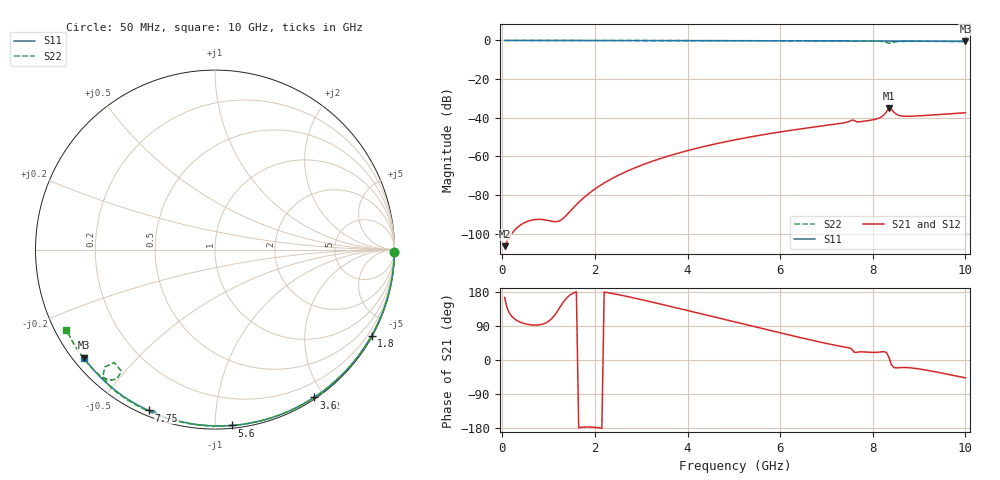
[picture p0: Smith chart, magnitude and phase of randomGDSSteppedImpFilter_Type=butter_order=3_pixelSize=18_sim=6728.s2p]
! freq	dB(S11)	phase(S11)	dB(S12)	phase(S12)
!  dB(S21)	phase(S21)	dB(S22)	phase(S22)
!S-par simulation data
#  GHz  S  DB  R 50
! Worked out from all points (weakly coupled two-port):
!   200 points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, 50 MHz to 10 GHz, reference 50 ohm
!   highest |S21| = -35.07 dB at 8.35 GHz (marker M1); lowest = -106.4 dB at 50 MHz (marker M2)
!   lowest |S11| = -0.5 dB at 10 GHz (marker M3), VSWR 36.48, Z = 1.55 - j17.9 ohm
!   |S11| at or under -10 dB: nowhere
!   |S22| runs from -1.5 to 0.0 dB; largest |S21 - S12| = 0
!   S11 on the Smith chart (normalised r, x): 50 MHz: open; 1.8 GHz: 0.03, -3.90; 3.6 GHz: 0.02, -1.87; 5.6 GHz: 0.02, -1.10; 7.75 GHz: 0.02, -0.67; 10 GHz: 0.03, -0.36
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0.05  -0.00 -0.8  -106.38 165.2  -106.38 165.2  -0.00 -0.9
0.85  -0.01 -13.7  -92.58 94.1  -92.58 94.1  -0.02 -14.9
1.75  -0.04 -28.0  -81.50 -177.0  -81.50 -177.0  -0.04 -30.4
1.8  -0.04 -28.8  -80.48 -176.6  -80.48 -176.6  -0.04 -31.3
2.5  -0.05 -39.6  -69.79 172.6  -69.79 172.6  -0.06 -43.0
3.4  -0.07 -53.2  -61.18 148.1  -61.18 148.1  -0.08 -57.7
3.6  -0.08 -56.2  -59.68 142.3  -59.68 142.3  -0.08 -60.9
5.05  -0.12 -76.9  -51.27 99.4  -51.27 99.4  -0.13 -83.3
5.6  -0.14 -84.5  -48.86 83.2  -48.86 83.2  -0.15 -91.4
6.7  -0.19 -99.1  -44.88 51.7  -44.88 51.7  -0.21 -107.2
7.35  -0.24 -107.6  -42.72 35.2  -42.72 35.2  -0.25 -116.5
7.55  -0.32 -110.4  -41.19 28.3  -41.19 28.3  -0.27 -119.3
7.75  -0.27 -112.3  -41.98 21.5  -41.98 21.5  -0.29 -122.3
8.15  -0.29 -117.5  -40.00 21.0  -40.00 21.0  -0.41 -129.3
8.25  -0.30 -118.7  -38.29 22.1  -38.29 22.1  -0.62 -131.9
8.3  -0.31 -119.4  -36.68 19.0  -36.68 19.0  -0.95 -133.2
8.35  -0.31 -120.0  -35.07 6.5  -35.07 6.5  -1.48 -131.7
8.4  -0.31 -120.6  -35.41 -11.3  -35.41 -11.3  -1.36 -127.5
8.45  -0.31 -121.3  -36.91 -19.5  -36.91 -19.5  -0.89 -127.2
8.55  -0.32 -122.5  -38.65 -20.5  -38.65 -20.5  -0.55 -129.6
8.7  -0.34 -124.4  -39.22 -19.8  -39.22 -19.8  -0.44 -132.7
10  -0.48 -140.5  -37.40 -47.1  -37.40 -47.1  -0.53 -151.6
